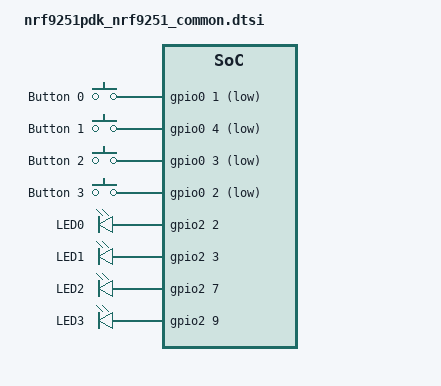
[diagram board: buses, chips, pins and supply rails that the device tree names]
/*
 * Copyright (c) 2026 Nordic Semiconductor ASA
 *
 * SPDX-License-Identifier: LicenseRef-Nordic-5-Clause
 */

/ {

    buttons {
        compatible = "gpio-keys";

        button0: button_0 {
            gpios = <&gpio0 1 (GPIO_PULL_UP | GPIO_ACTIVE_LOW)>;
            label = "Button 0";
        };
        button1: button_1 {
            gpios = <&gpio0 4 (GPIO_PULL_UP | GPIO_ACTIVE_LOW)>;
            label = "Button 1";
        };
        button2: button_2 {
            gpios = <&gpio0 3 (GPIO_PULL_UP | GPIO_ACTIVE_LOW)>;
            label = "Button 2";
        };
        button3: button_3 {
            gpios = <&gpio0 2 (GPIO_PULL_UP | GPIO_ACTIVE_LOW)>;
            label = "Button 3";
        };
    };

    leds {
        compatible = "gpio-leds";

        led0: led_0 {
            gpios = <&gpio2 2 0>;
            label = "LED0";
        };

        led1: led_1 {
            gpios = <&gpio2 3 0>;
            label = "LED1";
        };

        led2: led_2 {
            gpios = <&gpio2 7 0>;
            label = "LED2";
        };

        led3: led_3 {
            gpios = <&gpio2 9 0>;
            label = "LED3";
        };
    };
};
